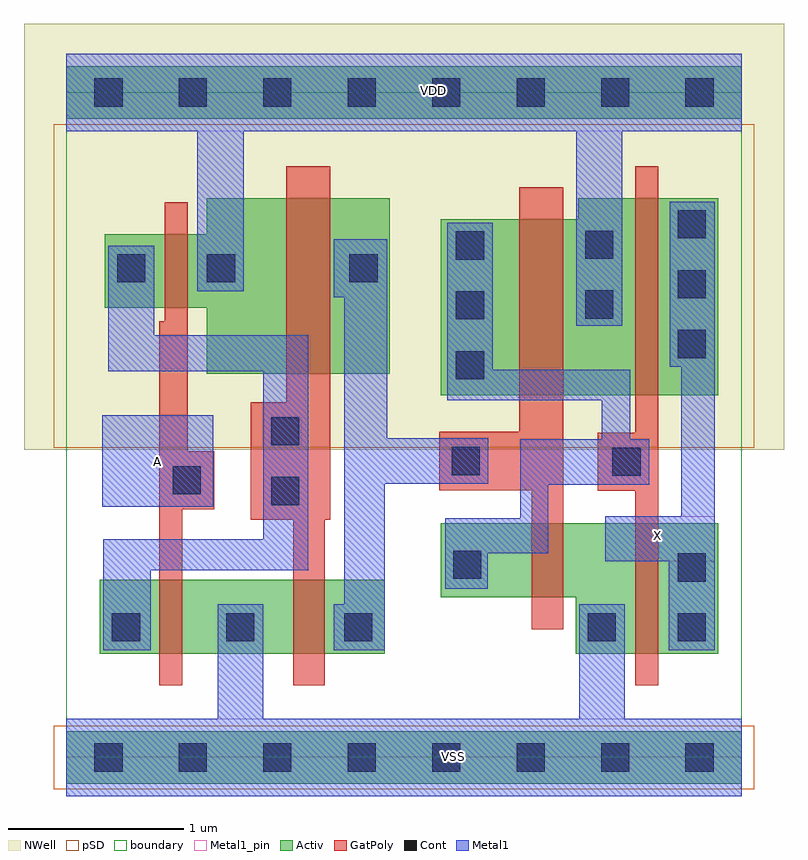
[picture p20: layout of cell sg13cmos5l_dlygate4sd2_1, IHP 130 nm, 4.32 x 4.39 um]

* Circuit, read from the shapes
.subckt sg13cmos5l_dlygate4sd2_1 A VDD VSS X
XM1 VSS A n1 VSS sg13_lv_nmos w=0.42u l=0.13u
XM2 n2 n1 VSS VSS sg13_lv_nmos w=0.42u l=0.18u
XM3 VSS n2 n3 VSS sg13_lv_nmos w=0.42u l=0.18u
XM4 X n3 VSS VSS sg13_lv_nmos w=0.74u l=0.13u
XM5 VDD A n1 VDD sg13_lv_pmos w=0.42u l=0.13u
XM6 n2 n1 VDD VDD sg13_lv_pmos w=1u l=0.25u
XM7 VDD n2 n3 VDD sg13_lv_pmos w=1u l=0.25u
XM8 X n3 VDD VDD sg13_lv_pmos w=1.12u l=0.13u
.ends

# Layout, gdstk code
import gdstk
lib = gdstk.Library(unit=1e-6, precision=1e-09)
def R(c, l, rs):  # rectangles x0, y0, x1, y1
    for r in rs: c.add(gdstk.rectangle(r[:2], r[2:], *l))
def A(c, l, x, y, w, h, nx, ny, dx, dy):  # array of equal rectangles
    R(c, l, [(x+i*dx, y+j*dy, x+i*dx+w, y+j*dy+h) for i in range(nx) for j in range(ny)])
def P(c, l, *ps):  # polygons
    for p in ps: c.add(gdstk.Polygon(p, *l))
Activ = (1, 0)
GatPoly = (5, 0)
Cont = (6, 0)
Metal1 = (8, 0)
Metal1_pin = (8, 2)
pSD = (14, 0)
NWell = (31, 0)
boundary = (189, 4)

sg13cmos5l_dlygate4sd2_1 = lib.new_cell('sg13cmos5l_dlygate4sd2_1')
R(sg13cmos5l_dlygate4sd2_1, Activ, [(0,-0.15,3.84,0.15), (0.19,0.59,1.81,1.01), (0,3.63,3.84,3.93)])
P(sg13cmos5l_dlygate4sd2_1, Activ, [(2.895,0.59),(2.895,0.91),(2.13,0.91),(2.13,1.33),(3.705,1.33),(3.705,0.59)],
  [(2.13,2.06),(2.13,3.06),(2.91,3.06),(2.91,3.18),(3.705,3.18),(3.705,2.06)],
  [(0.8,2.18),(0.8,2.555),(0.22,2.555),(0.22,2.975),(0.8,2.975),(0.8,3.18),(1.84,3.18),(1.84,2.18)])
P(sg13cmos5l_dlygate4sd2_1, GatPoly, [(2.645,0.73),(2.645,1.52),(2.12,1.52),(2.12,1.85),(2.575,1.85),(2.575,3.24),(2.825,3.24),(2.825,0.73)],
  [(0.53,0.41),(0.53,2.48),(0.56,2.48),(0.56,3.155),(0.69,3.155),(0.69,1.74),(0.84,1.74),(0.84,1.41),(0.66,1.41),(0.66,0.41)],
  [(1.29,0.41),(1.29,1.35),(1.05,1.35),(1.05,2.02),(1.25,2.02),(1.25,3.36),(1.5,3.36),(1.5,1.35),(1.47,1.35),(1.47,0.41)],
  [(3.235,0.41),(3.235,1.515),(3.02,1.515),(3.02,1.845),(3.235,1.845),(3.235,3.36),(3.365,3.36),(3.365,0.41)])
A(sg13cmos5l_dlygate4sd2_1, Cont, 0.16, -0.08, 0.16, 0.16, 8, 2, 0.48, 3.78)
A(sg13cmos5l_dlygate4sd2_1, Cont, 2.215, 2.15, 0.16, 0.16, 1, 3, 0, 0.34)
A(sg13cmos5l_dlygate4sd2_1, Cont, 3.475, 2.27, 0.16, 0.16, 1, 3, 0, 0.34)
R(sg13cmos5l_dlygate4sd2_1, Cont, [(0.26,0.66,0.42,0.82), (0.91,0.66,1.07,0.82), (1.58,0.66,1.74,0.82), (2.965,0.66,3.125,0.82), (3.475,0.66,3.635,0.82), (3.475,1,3.635,1.16), (2.2,1.015,2.36,1.175), (1.165,1.435,1.325,1.595), (0.605,1.495,0.765,1.655), (3.105,1.6,3.265,1.76), (2.19,1.605,2.35,1.765), (1.165,1.775,1.325,1.935), (2.95,2.495,3.11,2.655), (0.29,2.7,0.45,2.86), (0.8,2.7,0.96,2.86), (1.61,2.7,1.77,2.86), (2.95,2.835,3.11,2.995)])
R(sg13cmos5l_dlygate4sd2_1, Metal1, [(0.205,1.425,0.835,1.945)])
P(sg13cmos5l_dlygate4sd2_1, Metal1, [(2.155,0.96),(2.155,1.36),(2.58,1.36),(2.58,1.81),(3.045,1.81),(3.045,2.03),(2.165,2.03),(2.165,3.04),(2.425,3.04),(2.425,2.205),(3.205,2.205),(3.205,1.81),(3.315,1.81),(3.315,1.55),(2.74,1.55),(2.74,1.16),(2.395,1.16),(2.395,0.96)],
  [(1.52,0.61),(1.52,0.87),(1.58,0.87),(1.58,2.615),(1.52,2.615),(1.52,2.945),(1.825,2.945),(1.825,1.815),(2.4,1.815),(2.4,1.555),(1.81,1.555),(1.81,0.61)],
  [(0.21,0.61),(0.21,1.24),(1.12,1.24),(1.12,2.195),(0.24,2.195),(0.24,2.91),(0.5,2.91),(0.5,2.4),(1.375,2.4),(1.375,1.065),(0.48,1.065),(0.48,0.61)],
  [(3.425,0.61),(3.425,1.115),(3.065,1.115),(3.065,1.37),(3.495,1.37),(3.495,2.22),(3.43,2.22),(3.43,3.16),(3.685,3.16),(3.685,0.61)],
  [(2.9,2.455),(2.9,3.56),(1.01,3.56),(1.01,2.65),(0.745,2.65),(0.745,3.56),(0,3.56),(0,4),(3.84,4),(3.84,3.56),(3.16,3.56),(3.16,2.455)],
  [(0,-0.22),(0,0.22),(0.86,0.22),(0.86,0.87),(1.12,0.87),(1.12,0.22),(2.915,0.22),(2.915,0.87),(3.175,0.87),(3.175,0.22),(3.84,0.22),(3.84,-0.22)])
R(sg13cmos5l_dlygate4sd2_1, Metal1_pin, [(0,-0.22,3.84,0.22), (3.065,1.115,3.685,1.37), (0.205,1.425,0.835,1.945), (0,3.56,3.84,4)])
R(sg13cmos5l_dlygate4sd2_1, pSD, [(-0.07,-0.18,3.91,0.18), (-0.07,1.76,3.91,3.6)])
R(sg13cmos5l_dlygate4sd2_1, NWell, [(-0.24,1.75,4.08,4.17)])
R(sg13cmos5l_dlygate4sd2_1, boundary, [(0,0,3.84,3.78)])
sg13cmos5l_dlygate4sd2_1.add(gdstk.Label('X', (3.36,1.26), layer=8, texttype=25))
sg13cmos5l_dlygate4sd2_1.add(gdstk.Label('VDD', (2.085,3.79), layer=8, texttype=25))
sg13cmos5l_dlygate4sd2_1.add(gdstk.Label('VSS', (2.2,0.005), layer=8, texttype=25))
sg13cmos5l_dlygate4sd2_1.add(gdstk.Label('A', (0.52,1.68), layer=8, texttype=25))

lib.write_gds('sg13cmos5l_dlygate4sd2_1.gds')
